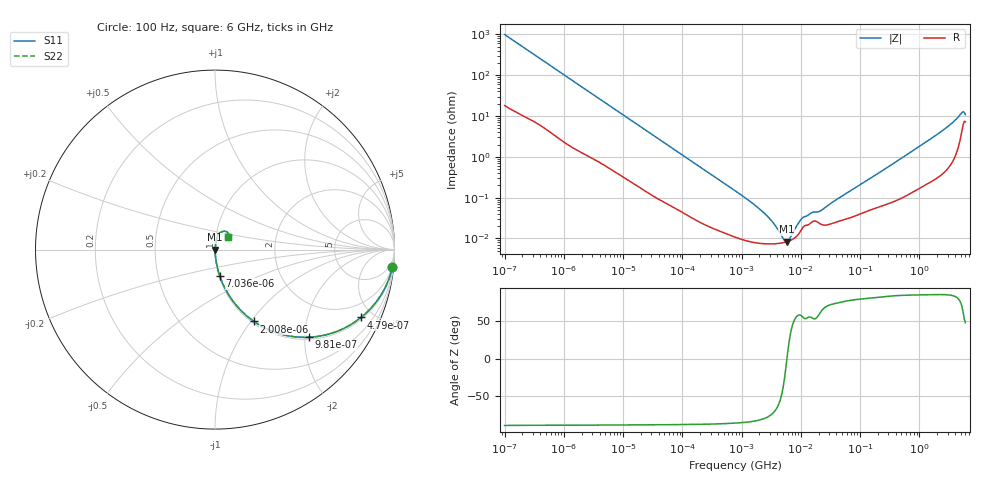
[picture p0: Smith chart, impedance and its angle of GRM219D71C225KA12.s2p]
!Murata Part Number: GRM219D71C225KA12
!These Parameters are Measured in Series Mode Connection
!Data Generated on Mar 30, 2021
!  o--ll--o
!Port1  Port2
!  o------o
!Operation Temp=25[degC], DC Bias Voltage=0[V]
!Freq. Start=100[Hz] Stop=6[GHz] 401[Steps]
# Hz S RI R 50
!Freq.(Hz) S11(Real) S11(Imag) S21(Real) S21(Imag) S12(Real) S12(Imag) S22(Real) S22(Imag)
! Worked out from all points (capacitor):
!   401 points, 100 Hz to 6 GHz, reference 50 ohm
!   read as one part in series: C = 1.59 uF near 109 Hz
!   lowest |Z| = 8.29 mohm at 5.809 MHz (marker M1)
!   series resonance near 5.835 MHz, so ESL is about 470 pH
!   S11 on the Smith chart (normalised r, x): 100 Hz: 1, -20; 479 Hz: 1.10, -4.25; 981 Hz: 1.05, -2.10; 2.008 kHz: 1.03, -1.03; 7.036 kHz: 1.01, -0.30; 6 GHz: 1.15, +0.16
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100  0.9883 -0.0988  0.0117 0.0988  0.0117 0.0988  0.9883 -0.0988
245  0.94 -0.227  0.06 0.227  0.06 0.227  0.94 -0.227
479  0.8135 -0.378  0.1865 0.378  0.1865 0.378  0.8135 -0.378
981  0.524 -0.4884  0.476 0.4884  0.476 0.4884  0.524 -0.4884
2008  0.2169 -0.4001  0.7831 0.4001  0.7831 0.4001  0.2169 -0.4001
3437  0.0914 -0.2749  0.9086 0.2749  0.9086 0.2749  0.0914 -0.2749
7036  0.0264 -0.1464  0.9736 0.1464  0.9736 0.1464  0.0264 -0.1464
40335  0.00164 -0.0272  0.9984 0.0272  0.9984 0.0272  0.00164 -0.0272
774597  0.00011 -0.00149  0.9999 0.00149  0.9999 0.00149  0.00011 -0.00149
2372521  7.46e-05 -0.00042  0.9999 0.00042  0.9999 0.00042  7.46e-05 -0.00042
3394479  7.38e-05 -0.000234  0.9999 0.000234  0.9999 0.000234  7.38e-05 -0.000234
4856642  7.79e-05 -7.68e-05  0.9999 7.68e-05  0.9999 7.68e-05  7.79e-05 -7.68e-05
5809218  8.29e-05 -1.8e-06  0.9999 1.8e-06  0.9999 1.8e-06  8.29e-05 -1.8e-06
6948629  9.19e-05 7.49e-05  0.9999 -7.49e-05  0.9999 -7.49e-05  9.19e-05 7.49e-05
9090158  0.000126 0.0002  0.9999 -0.0002  0.9999 -0.0002  0.000126 0.0002
1.039699e7  0.00017 0.000257  0.9998 -0.000257  0.9998 -0.000257  0.00017 0.000257
1.555665e7  0.000255 0.000351  0.9997 -0.000351  0.9997 -0.000351  0.000255 0.000351
2.225763e7  0.000221 0.000438  0.9998 -0.000438  0.9998 -0.000438  0.000221 0.000438
3.124326e8  0.000759 0.00588  0.9992 -0.00588  0.9992 -0.00588  0.000759 0.00588
2.34314e9  0.00528 0.0412  0.9947 -0.0412  0.9947 -0.0412  0.00528 0.0412
5.016141e9  0.0407 0.1008  0.9593 -0.1008  0.9593 -0.1008  0.0407 0.1008
6e9  0.0729 0.0688  0.9271 -0.0688  0.9271 -0.0688  0.0729 0.0688
